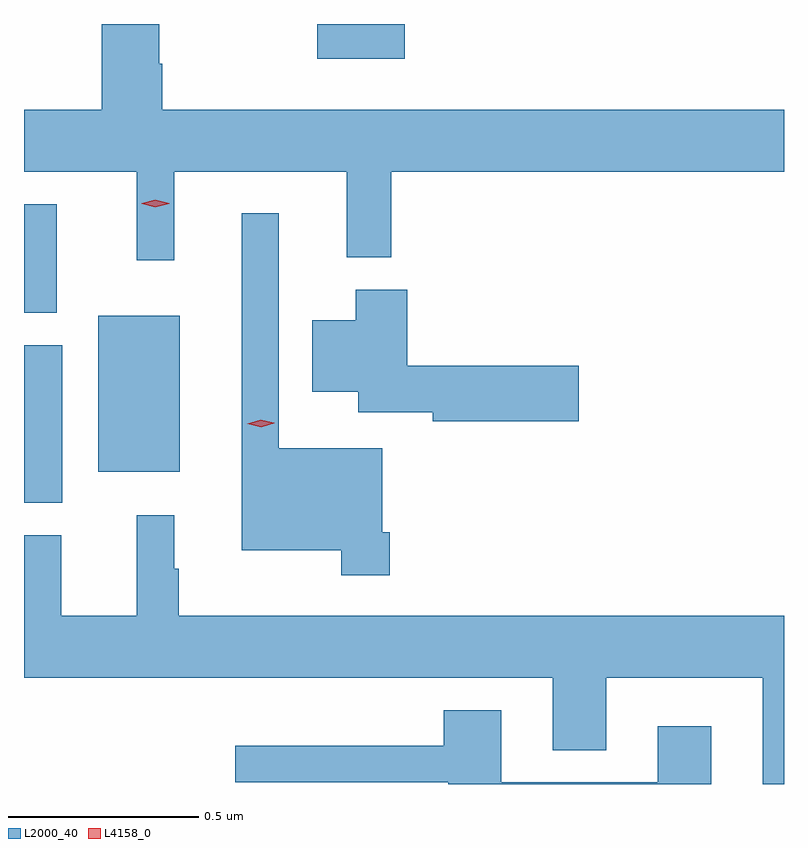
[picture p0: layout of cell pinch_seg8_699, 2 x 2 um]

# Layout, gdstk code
import gdstk
lib = gdstk.Library(unit=1e-6, precision=1e-09)
def R(c, l, rs):  # rectangles x0, y0, x1, y1
    for r in rs: c.add(gdstk.rectangle(r[:2], r[2:], *l))
def P(c, l, *ps):  # polygons
    for p in ps: c.add(gdstk.Polygon(p, *l))
L2000_40 = (2000, 40)
L4158_0 = (4158, 0)

pinch_seg8_699 = lib.new_cell('pinch_seg8_699')
R(pinch_seg8_699, L2000_40, [(250.187,1103.641,250.288,1104.056), (250.382,1103.723,250.597,1104.133), (250.187,1104.141,250.273,1104.427), (250.959,1104.809,251.189,1104.901)])
P(pinch_seg8_699, L2000_40, [(250.583,1104.512),(251.036,1104.512),(251.036,1104.287),(251.153,1104.287),(251.153,1104.512),(252.187,1104.512),(252.187,1104.676),(250.551,1104.676),(250.551,1104.797),(250.543,1104.797),(250.543,1104.901),(250.391,1104.901),(250.391,1104.676),(250.187,1104.676),(250.187,1104.512),(250.484,1104.512),(250.484,1104.279),(250.583,1104.279)],
  [(251.15,1103.563),(251.13,1103.563),(251.13,1103.785),(250.857,1103.785),(250.857,1104.403),(250.76,1104.403),(250.76,1103.516),(251.022,1103.516),(251.022,1103.451),(251.15,1103.451)],
  [(251.647,1104.002),(251.195,1104.002),(251.195,1104.202),(251.06,1104.202),(251.06,1104.121),(250.946,1104.121),(250.946,1103.933),(251.066,1103.933),(251.066,1103.879),(251.262,1103.879),(251.262,1103.855),(251.647,1103.855)],
  [(252.187,1103.344),(250.594,1103.344),(250.594,1103.468),(250.582,1103.468),(250.582,1103.608),(250.484,1103.608),(250.484,1103.344),(250.285,1103.344),(250.285,1103.556),(250.187,1103.556),(250.187,1103.18),(251.579,1103.18),(251.579,1102.99),(251.719,1102.99),(251.719,1103.18),(252.131,1103.18),(252.131,1102.901),(252.187,1102.901)],
  [(251.995,1103.053),(251.855,1103.053),(251.855,1102.905),(251.443,1102.905),(251.443,1103.095),(251.291,1103.095),(251.291,1103.002),(250.743,1103.002),(250.743,1102.905),(251.303,1102.905),(251.303,1102.901),(251.995,1102.901)])
P(pinch_seg8_699, L4158_0, [(250.811,1103.84),(250.775,1103.849),(250.775,1103.849),(250.775,1103.849),(250.81,1103.86),(250.846,1103.852),(250.846,1103.852),(250.846,1103.851)],
  [(250.533,1104.419),(250.497,1104.428),(250.497,1104.429),(250.497,1104.429),(250.533,1104.439),(250.569,1104.429),(250.569,1104.429),(250.569,1104.428)])

lib.write_gds('pinch_seg8_699.gds')
